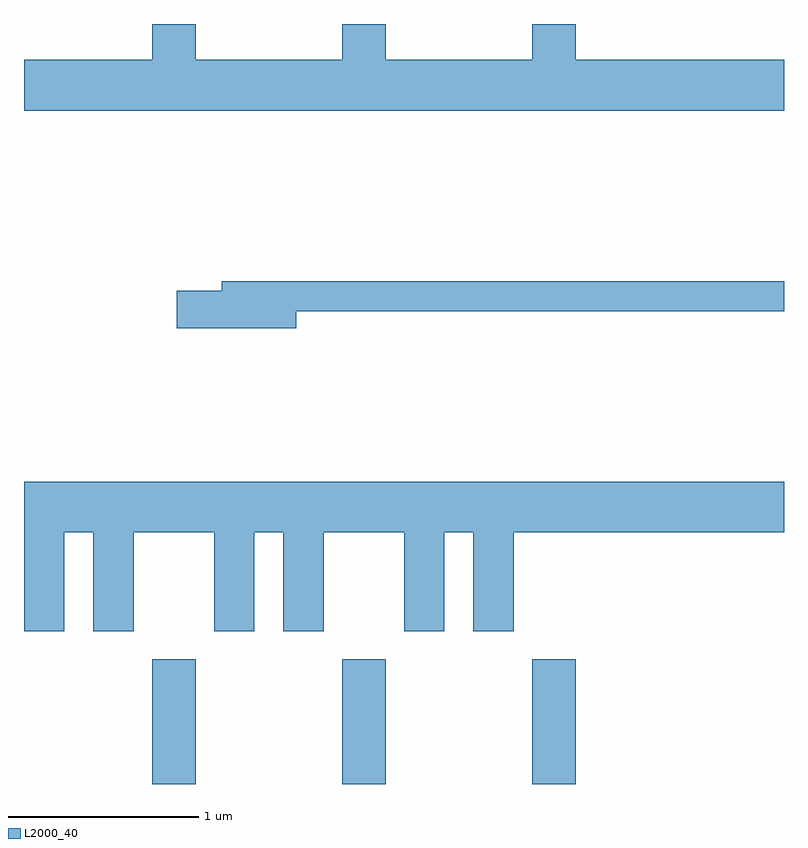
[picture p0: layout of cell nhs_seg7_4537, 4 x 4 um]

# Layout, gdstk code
import gdstk
lib = gdstk.Library(unit=1e-6, precision=1e-09)
def R(c, l, rs):  # rectangles x0, y0, x1, y1
    for r in rs: c.add(gdstk.rectangle(r[:2], r[2:], *l))
def A(c, l, x, y, w, h, nx, ny, dx, dy):  # array of equal rectangles
    R(c, l, [(x+i*dx, y+j*dy, x+i*dx+w, y+j*dy+h) for i in range(nx) for j in range(ny)])
def P(c, l, *ps):  # polygons
    for p in ps: c.add(gdstk.Polygon(p, *l))
L2000_40 = (2000, 40)

nhs_seg7_4537 = lib.new_cell('nhs_seg7_4537')
A(nhs_seg7_4537, L2000_40, 324.286, 1786.252, 0.228, 0.657, 3, 1, 1, 0)
P(nhs_seg7_4537, L2000_40, [(327.611,1790.064),(326.514,1790.064),(326.514,1790.252),(326.286,1790.252),(326.286,1790.064),(325.514,1790.064),(325.514,1790.252),(325.286,1790.252),(325.286,1790.064),(324.514,1790.064),(324.514,1790.252),(324.286,1790.252),(324.286,1790.064),(323.611,1790.064),(323.611,1789.796),(327.611,1789.796)],
  [(325.044,1788.741),(327.611,1788.741),(327.611,1788.899),(324.651,1788.899),(324.651,1788.849),(324.416,1788.849),(324.416,1788.651),(325.044,1788.651)],
  [(323.824,1787.576),(323.976,1787.576),(323.976,1787.056),(324.189,1787.056),(324.189,1787.576),(324.611,1787.576),(324.611,1787.056),(324.824,1787.056),(324.824,1787.576),(324.976,1787.576),(324.976,1787.056),(325.189,1787.056),(325.189,1787.576),(325.611,1787.576),(325.611,1787.056),(325.824,1787.056),(325.824,1787.576),(325.976,1787.576),(325.976,1787.056),(326.189,1787.056),(326.189,1787.576),(327.611,1787.576),(327.611,1787.844),(323.611,1787.844),(323.611,1787.056),(323.824,1787.056)])

lib.write_gds('nhs_seg7_4537.gds')
